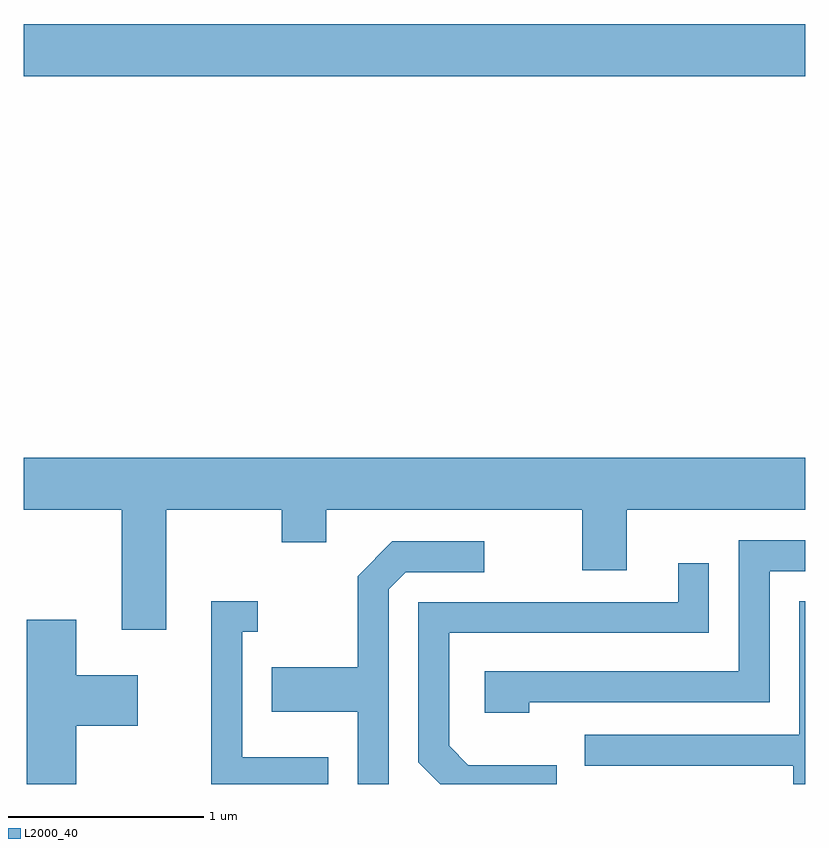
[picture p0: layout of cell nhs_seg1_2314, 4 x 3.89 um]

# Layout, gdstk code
import gdstk
lib = gdstk.Library(unit=1e-6, precision=1e-09)
def R(c, l, rs):  # rectangles x0, y0, x1, y1
    for r in rs: c.add(gdstk.rectangle(r[:2], r[2:], *l))
def P(c, l, *ps):  # polygons
    for p in ps: c.add(gdstk.Polygon(p, *l))
L2000_40 = (2000, 40)

nhs_seg1_2314 = lib.new_cell('nhs_seg1_2314')
R(nhs_seg1_2314, L2000_40, [(255.611,917.336,259.611,917.604)])
P(nhs_seg1_2314, L2000_40, [(256.339,915.116),(256.931,915.116),(256.931,914.951),(257.159,914.951),(257.159,915.116),(258.471,915.116),(258.471,914.806),(258.699,914.806),(258.699,915.116),(259.611,915.116),(259.611,915.384),(255.611,915.384),(255.611,915.116),(256.111,915.116),(256.111,914.501),(256.339,914.501)],
  [(258.199,914.131),(259.429,914.131),(259.429,914.801),(259.611,914.801),(259.611,914.959),(259.271,914.959),(259.271,914.289),(257.971,914.289),(257.971,914.076),(258.199,914.076)],
  [(257.479,914.709),(257.567,914.796),(257.968,914.796),(257.968,914.954),(257.498,914.954),(257.321,914.777),(257.321,914.309),(256.881,914.309),(256.881,914.081),(257.321,914.081),(257.321,913.712),(257.479,913.712)],
  [(258.339,913.809),(257.887,913.809),(257.789,913.907),(257.789,914.486),(259.119,914.486),(259.119,914.843),(258.961,914.843),(258.961,914.644),(257.631,914.644),(257.631,913.824),(257.743,913.712),(258.339,913.712)],
  [(257.169,913.849),(256.729,913.849),(256.729,914.491),(256.808,914.491),(256.808,914.649),(256.571,914.649),(256.571,913.712),(257.169,913.712)],
  [(259.611,914.649),(259.581,914.649),(259.581,913.964),(258.483,913.964),(258.483,913.806),(259.551,913.806),(259.551,913.712),(259.611,913.712)],
  [(255.879,914.011),(256.194,914.011),(256.194,914.269),(255.879,914.269),(255.879,914.554),(255.626,914.554),(255.626,913.712),(255.879,913.712)])

lib.write_gds('nhs_seg1_2314.gds')
